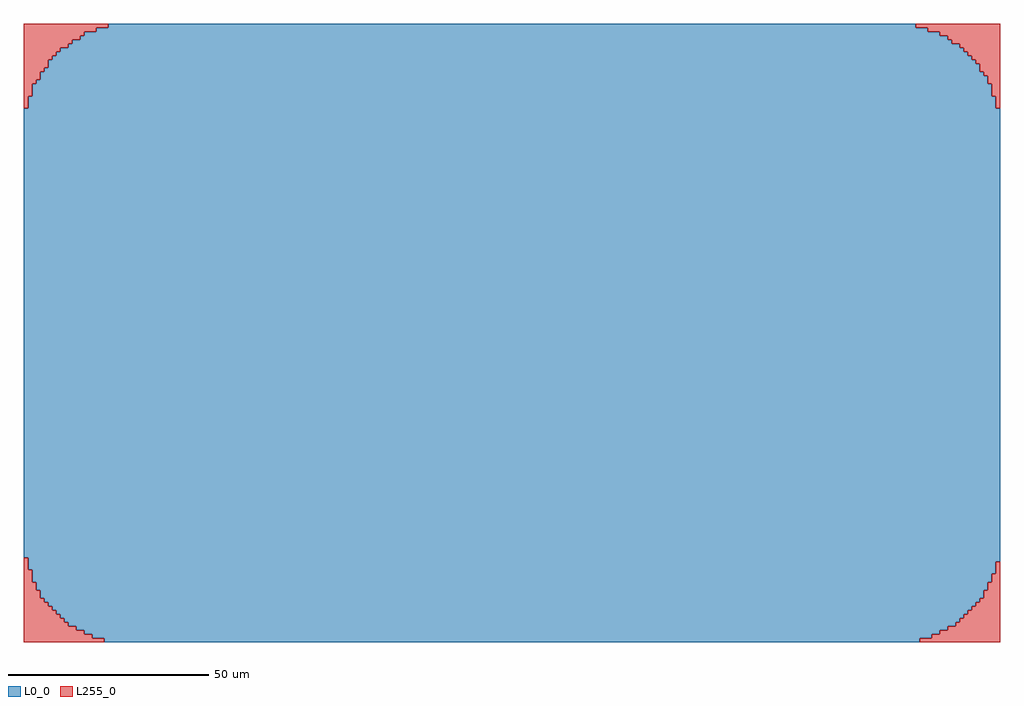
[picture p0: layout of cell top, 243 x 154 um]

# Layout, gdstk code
import gdstk
lib = gdstk.Library(unit=1e-6, precision=1e-09)
def R(c, l, rs):  # rectangles x0, y0, x1, y1
    for r in rs: c.add(gdstk.rectangle(r[:2], r[2:], *l))
def A(c, l, x, y, w, h, nx, ny, dx, dy):  # array of equal rectangles
    R(c, l, [(x+i*dx, y+j*dy, x+i*dx+w, y+j*dy+h) for i in range(nx) for j in range(ny)])
L0_0 = (0, 0)
L255_0 = (255, 0)

top = lib.new_cell('top')
A(top, L0_0, 0, 21, 243, 1, 1, 112, 0, 1)
A(top, L0_0, 1, 133, 241, 1, 1, 3, 0, 1)
A(top, L0_0, 2, 136, 239, 1, 1, 3, 0, 1)
R(top, L0_0, [(20,0,223,1), (17,1,226,2), (15,2,228,3), (13,3,230,4), (11,4,232,5), (10,5,233,6), (9,6,234,7), (8,7,235,8), (7,8,236,9), (6,9,237,10), (5,10,238,11), (4,11,239,12), (4,12,239,13), (3,13,240,14), (3,14,240,15), (2,15,241,16), (2,16,241,17), (2,17,242,18), (1,18,242,19), (1,19,242,20), (1,20,243,21), (3,139,240,140), (4,140,240,141), (4,141,239,142), (5,142,238,143), (6,143,238,144), (6,144,237,145), (7,145,236,146), (8,146,235,147), (9,147,234,148), (11,148,233,149), (12,149,231,150), (14,150,230,151), (15,151,228,152), (18,152,225,153), (21,153,222,154)])
A(top, L255_0, 0, 15, 2, 1, 1, 3, 0, 1)
A(top, L255_0, 242, 17, 1, 1, 1, 3, 0, 1)
A(top, L255_0, 0, 18, 1, 1, 1, 3, 0, 1)
A(top, L255_0, 0, 133, 1, 1, 1, 3, 0, 1)
A(top, L255_0, 242, 133, 1, 1, 1, 3, 0, 1)
A(top, L255_0, 0, 136, 2, 1, 1, 3, 0, 1)
A(top, L255_0, 241, 136, 2, 1, 1, 3, 0, 1)
R(top, L255_0, [(0,0,20,1), (223,0,243,1), (0,1,17,2), (226,1,243,2), (0,2,15,3), (228,2,243,3), (0,3,13,4), (230,3,243,4), (0,4,11,5), (232,4,243,5), (0,5,10,6), (233,5,243,6), (0,6,9,7), (234,6,243,7), (0,7,8,8), (235,7,243,8), (0,8,7,9), (236,8,243,9), (0,9,6,10), (237,9,243,10), (0,10,5,11), (238,10,243,11), (0,11,4,12), (239,11,243,12), (0,12,4,13), (239,12,243,13), (0,13,3,14), (240,13,243,14), (0,14,3,15), (240,14,243,15), (241,15,243,16), (241,16,243,17), (0,139,3,140), (240,139,243,140), (0,140,4,141), (240,140,243,141), (0,141,4,142), (239,141,243,142), (0,142,5,143), (238,142,243,143), (0,143,6,144), (238,143,243,144), (0,144,6,145), (237,144,243,145), (0,145,7,146), (236,145,243,146), (0,146,8,147), (235,146,243,147), (0,147,9,148), (234,147,243,148), (0,148,11,149), (233,148,243,149), (0,149,12,150), (231,149,243,150), (0,150,14,151), (230,150,243,151), (0,151,15,152), (228,151,243,152), (0,152,18,153), (225,152,243,153), (0,153,21,154), (222,153,243,154)])

lib.write_gds('top.gds')
